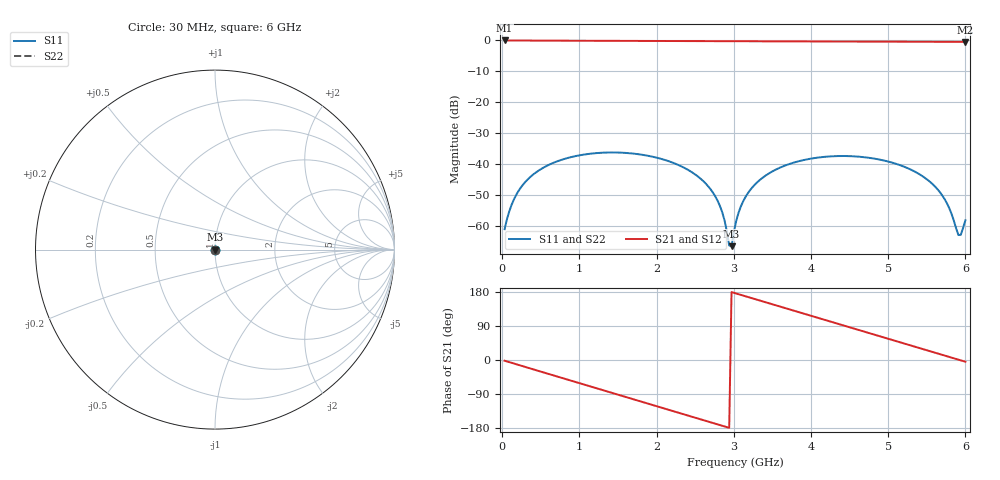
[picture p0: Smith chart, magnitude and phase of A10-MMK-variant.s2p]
! yapnr Order 0 O0-M: O0-M A10 M-MK 30 (variant, family M-MK)
! stackup OSHPARK-4L-FR408HR, nominal parameters; geometry of the OSHPARK-4L-FR408HR design
! model: 2D quasi-static RLGC (Djordjevic-Sarkar, Huray roughness, Wheeler loss); generated by python -m yapnr.rf.coupons expected --stackup OSHPARK-4L-FR408HR --upload M
! reference planes 10 mm from each end; 50 ohm (from the M line's Zc)
# GHz S DB R 50
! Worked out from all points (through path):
!   200 points, 30 MHz to 6 GHz, reference 50 ohm
!   highest |S21| = -0.01 dB at 30 MHz (marker M1); lowest = -0.5 dB at 6 GHz (marker M2)
!   group delay of S21, straight-line fit = 169 ps
!   lowest |S11| = -66.5 dB at 2.97 GHz (marker M3), VSWR 1.00, Z = 50 - j0.0211 ohm
!   |S11| at or under -10 dB: start of sweep to end of sweep
!   |S22| runs from -66.5 to -36.2 dB; largest |S21 - S12| = 0
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0.03  -61.02 -5.8  -0.01 -1.9  -0.01 -1.9  -61.02 -5.8
0.15  -51.42 -62.7  -0.03 -9.3  -0.03 -9.3  -51.42 -62.7
0.36  -44.20 -93.5  -0.05 -22.2  -0.05 -22.2  -44.20 -93.5
1.05  -36.92 -147.3  -0.11 -64.2  -0.11 -64.2  -36.92 -147.3
1.53  -36.27 -178.8  -0.15 -93.4  -0.15 -93.4  -36.27 -178.8
2.04  -38.16 149.1  -0.19 -124.4  -0.19 -124.4  -38.16 149.1
2.4  -41.74 127.6  -0.21 -146.3  -0.21 -146.3  -41.74 127.6
2.67  -47.23 113.4  -0.23 -162.7  -0.23 -162.7  -47.23 113.4
2.82  -53.51 110.1  -0.24 -171.8  -0.24 -171.8  -53.51 110.1
2.88  -58.22 114.9  -0.25 -175.4  -0.25 -175.4  -58.22 114.9
2.94  -66.30 151.5  -0.25 -179.0  -0.25 -179.0  -66.30 151.5
2.97  -66.50 -153.4  -0.26 179.2  -0.26 179.2  -66.50 -153.4
3.03  -58.42 -114.9  -0.26 175.5  -0.26 175.5  -58.42 -114.9
3.15  -50.64 -109.9  -0.27 168.2  -0.27 168.2  -50.64 -109.9
3.36  -44.63 -118.7  -0.28 155.5  -0.28 155.5  -44.63 -118.7
4.02  -38.12 -156.6  -0.33 115.5  -0.33 115.5  -38.12 -156.6
4.5  -37.40 175.0  -0.37 86.4  -0.37 86.4  -37.40 175.0
5.01  -39.22 145.2  -0.40 55.4  -0.40 55.4  -39.22 145.2
5.61  -47.33 114.8  -0.44 19.1  -0.44 19.1  -47.33 114.8
5.76  -52.60 113.8  -0.45 10.0  -0.45 10.0  -52.60 113.8
5.91  -62.90 161.9  -0.46 0.9  -0.46 0.9  -62.90 161.9
6  -58.13 -131.5  -0.47 -4.6  -0.47 -4.6  -58.13 -131.5
